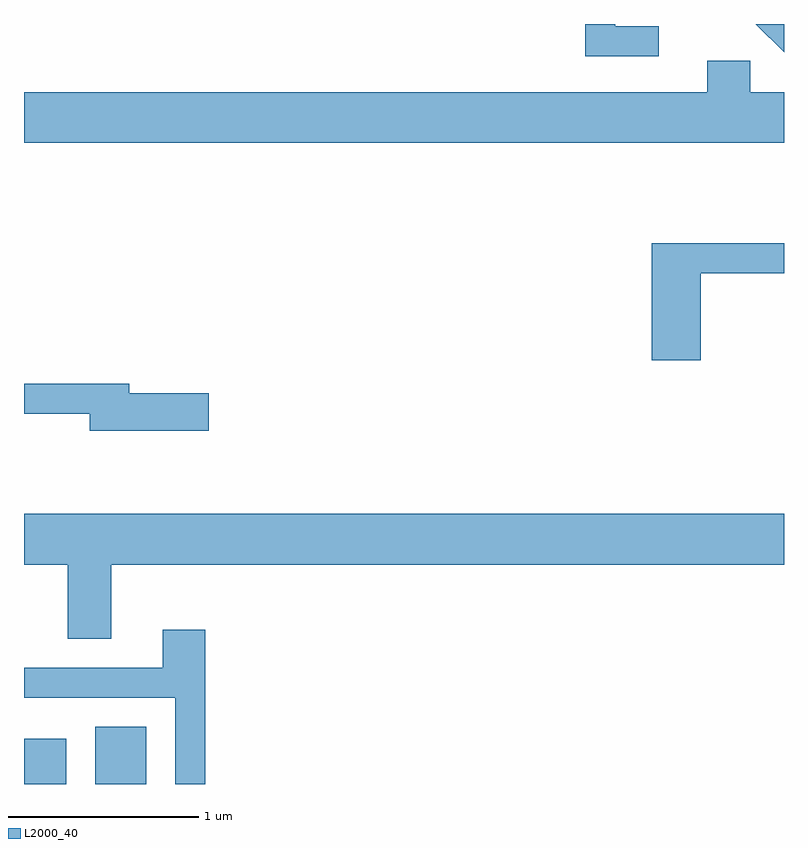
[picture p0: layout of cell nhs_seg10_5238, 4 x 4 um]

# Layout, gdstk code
import gdstk
lib = gdstk.Library(unit=1e-6, precision=1e-09)
def R(c, l, rs):  # rectangles x0, y0, x1, y1
    for r in rs: c.add(gdstk.rectangle(r[:2], r[2:], *l))
def P(c, l, *ps):  # polygons
    for p in ps: c.add(gdstk.Polygon(p, *l))
L2000_40 = (2000, 40)

nhs_seg10_5238 = lib.new_cell('nhs_seg10_5238')
R(nhs_seg10_5238, L2000_40, [(339.611,2130.522,339.834,2130.759), (339.986,2130.522,340.254,2130.824)])
P(nhs_seg10_5238, L2000_40, [(343.611,2134.522),(343.463,2134.522),(343.611,2134.374)],
  [(342.953,2134.509),(342.724,2134.509),(342.724,2134.522),(342.566,2134.522),(342.566,2134.351),(342.953,2134.351)],
  [(343.611,2134.164),(343.434,2134.164),(343.434,2134.329),(343.206,2134.329),(343.206,2134.164),(339.611,2134.164),(339.611,2133.896),(343.611,2133.896)],
  [(343.174,2133.211),(343.611,2133.211),(343.611,2133.369),(342.916,2133.369),(342.916,2132.751),(343.174,2132.751)],
  [(340.584,2132.579),(340.164,2132.579),(340.164,2132.629),(339.611,2132.629),(339.611,2132.471),(339.956,2132.471),(339.956,2132.381),(340.584,2132.381)],
  [(340.069,2131.676),(343.611,2131.676),(343.611,2131.944),(339.611,2131.944),(339.611,2131.676),(339.841,2131.676),(339.841,2131.286),(340.069,2131.286)],
  [(340.564,2131.334),(340.341,2131.334),(340.341,2131.134),(339.611,2131.134),(339.611,2130.976),(340.406,2130.976),(340.406,2130.522),(340.564,2130.522)])

lib.write_gds('nhs_seg10_5238.gds')
